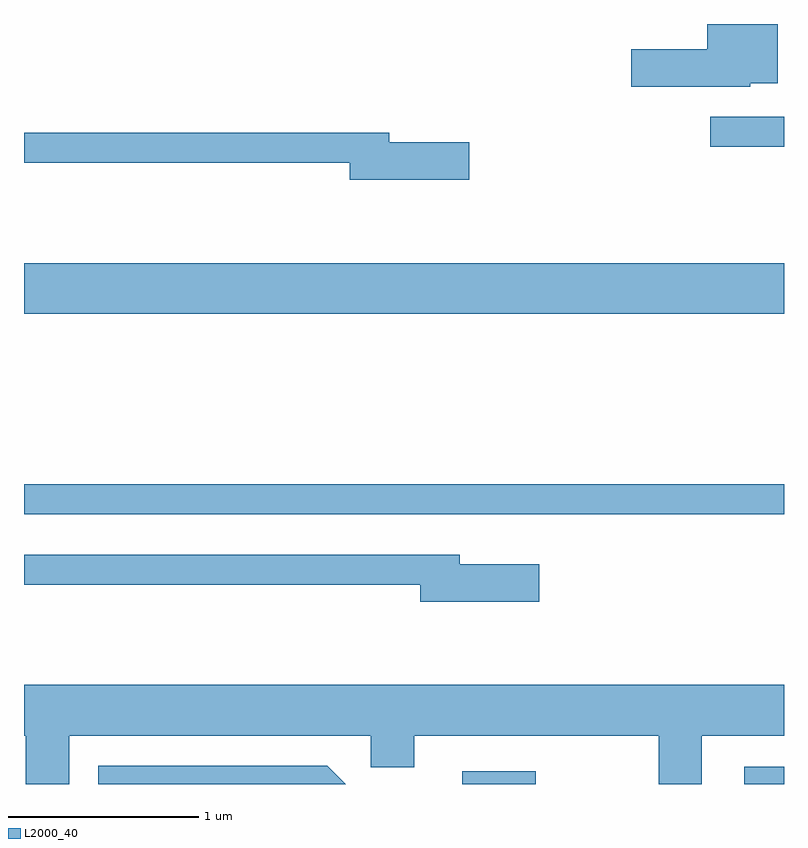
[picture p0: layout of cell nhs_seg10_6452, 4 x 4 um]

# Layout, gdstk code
import gdstk
lib = gdstk.Library(unit=1e-6, precision=1e-09)
def R(c, l, rs):  # rectangles x0, y0, x1, y1
    for r in rs: c.add(gdstk.rectangle(r[:2], r[2:], *l))
def P(c, l, *ps):  # polygons
    for p in ps: c.add(gdstk.Polygon(p, *l))
L2000_40 = (2000, 40)

nhs_seg10_6452 = lib.new_cell('nhs_seg10_6452')
R(nhs_seg10_6452, L2000_40, [(377.918,2142.522,378.304,2142.589), (379.403,2142.522,379.611,2142.614), (375.611,2143.941,379.611,2144.099), (375.611,2144.996,379.611,2145.264), (379.223,2145.876,379.611,2146.034)])
P(nhs_seg10_6452, L2000_40, [(379.434,2146.211),(379.579,2146.211),(379.579,2146.522),(379.206,2146.522),(379.206,2146.389),(378.806,2146.389),(378.806,2146.191),(379.434,2146.191)],
  [(377.954,2145.899),(377.534,2145.899),(377.534,2145.949),(375.611,2145.949),(375.611,2145.791),(377.326,2145.791),(377.326,2145.701),(377.954,2145.701)],
  [(378.324,2143.679),(377.904,2143.679),(377.904,2143.729),(375.611,2143.729),(375.611,2143.571),(377.696,2143.571),(377.696,2143.481),(378.324,2143.481)],
  [(375.611,2142.776),(375.621,2142.776),(375.621,2142.522),(375.849,2142.522),(375.849,2142.776),(377.436,2142.776),(377.436,2142.611),(377.664,2142.611),(377.664,2142.776),(378.951,2142.776),(378.951,2142.522),(379.179,2142.522),(379.179,2142.776),(379.611,2142.776),(379.611,2143.044),(375.611,2143.044)],
  [(377.207,2142.619),(376.001,2142.619),(376.001,2142.522),(377.304,2142.522)])

lib.write_gds('nhs_seg10_6452.gds')
